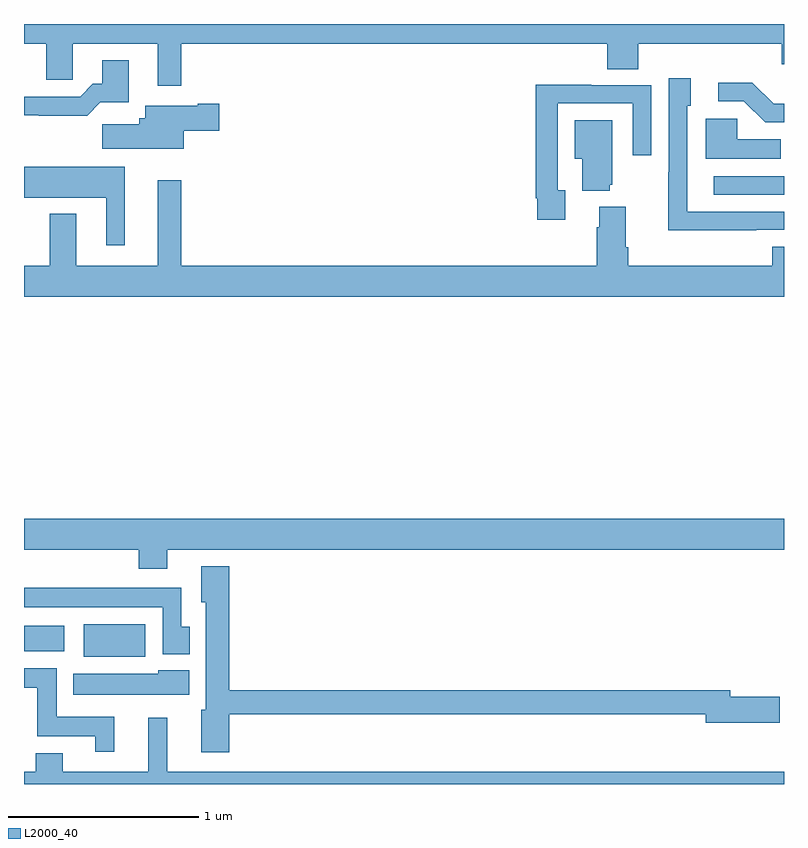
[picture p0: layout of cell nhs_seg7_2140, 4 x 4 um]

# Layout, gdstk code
import gdstk
lib = gdstk.Library(unit=1e-6, precision=1e-09)
def R(c, l, rs):  # rectangles x0, y0, x1, y1
    for r in rs: c.add(gdstk.rectangle(r[:2], r[2:], *l))
def P(c, l, *ps):  # polygons
    for p in ps: c.add(gdstk.Polygon(p, *l))
L2000_40 = (2000, 40)

nhs_seg7_2140 = lib.new_cell('nhs_seg7_2140')
R(nhs_seg7_2140, L2000_40, [(251.315,1050.671,251.638,1050.841), (251,1050.698,251.212,1050.832), (254.631,1053.102,255,1053.198)])
P(nhs_seg7_2140, L2000_40, [(251.827,1053.896),(254.069,1053.896),(254.069,1053.763),(254.234,1053.763),(254.234,1053.896),(254.987,1053.896),(254.987,1053.787),(255,1053.787),(255,1054),(251,1054),(251,1053.896),(251.117,1053.896),(251.117,1053.706),(251.256,1053.706),(251.256,1053.896),(251.705,1053.896),(251.705,1053.675),(251.827,1053.675)],
  [(251.402,1053.587),(251.551,1053.587),(251.551,1053.808),(251.411,1053.808),(251.411,1053.685),(251.362,1053.685),(251.295,1053.618),(251,1053.618),(251,1053.52),(251.077,1053.52),(251.077,1053.518),(251.333,1053.518)],
  [(254.855,1052.916),(255,1052.916),(255,1053.012),(254.491,1053.012),(254.491,1053.242),(254.49,1053.242),(254.49,1053.57),(254.509,1053.57),(254.509,1053.715),(254.394,1053.715),(254.394,1053.221),(254.392,1053.221),(254.392,1052.915),(254.855,1052.915)],
  [(255,1053.579),(254.946,1053.579),(254.833,1053.692),(254.655,1053.692),(254.655,1053.594),(254.789,1053.594),(254.9,1053.483),(255,1053.483)],
  [(253.849,1053.126),(253.809,1053.126),(253.809,1053.582),(254.205,1053.582),(254.205,1053.309),(254.301,1053.309),(254.301,1053.678),(253.985,1053.678),(253.985,1053.68),(253.693,1053.68),(253.693,1053.082),(253.701,1053.082),(253.701,1052.97),(253.849,1052.97)],
  [(251.842,1053.437),(252.028,1053.437),(252.028,1053.579),(251.915,1053.579),(251.915,1053.571),(251.639,1053.571),(251.639,1053.505),(251.606,1053.505),(251.606,1053.473),(251.412,1053.473),(251.412,1053.344),(251.842,1053.344)],
  [(254.984,1053.394),(254.754,1053.394),(254.754,1053.502),(254.588,1053.502),(254.588,1053.29),(254.984,1053.29)],
  [(254.084,1053.153),(254.095,1053.153),(254.095,1053.493),(253.898,1053.493),(253.898,1053.29),(253.937,1053.29),(253.937,1053.122),(254.084,1053.122)],
  [(251.53,1053.25),(251,1053.25),(251,1053.086),(251.432,1053.086),(251.432,1052.835),(251.53,1052.835)],
  [(255,1052.827),(254.939,1052.827),(254.939,1052.728),(254.18,1052.728),(254.18,1052.824),(254.167,1052.824),(254.167,1053.037),(254.027,1053.037),(254.027,1052.93),(254.015,1052.93),(254.015,1052.728),(251.827,1052.728),(251.827,1053.178),(251.705,1053.178),(251.705,1052.728),(251.275,1052.728),(251.275,1053.001),(251.135,1053.001),(251.135,1052.728),(251,1052.728),(251,1052.564),(255,1052.564)],
  [(251.755,1051.232),(255,1051.232),(255,1051.396),(251,1051.396),(251,1051.232),(251.603,1051.232),(251.603,1051.133),(251.755,1051.133)],
  [(252.08,1050.366),(254.588,1050.366),(254.588,1050.323),(254.977,1050.323),(254.977,1050.458),(254.716,1050.458),(254.716,1050.494),(252.08,1050.494),(252.08,1051.147),(251.933,1051.147),(251.933,1050.957),(251.957,1050.957),(251.957,1050.39),(251.933,1050.39),(251.933,1050.168),(252.08,1050.168)],
  [(251.872,1050.828),(251.827,1050.828),(251.827,1051.033),(251,1051.033),(251,1050.929),(251.73,1050.929),(251.73,1050.684),(251.872,1050.684)],
  [(251.474,1050.355),(251.173,1050.355),(251.173,1050.61),(251,1050.61),(251,1050.506),(251.069,1050.506),(251.069,1050.251),(251.375,1050.251),(251.375,1050.171),(251.474,1050.171)],
  [(251.869,1050.598),(251.706,1050.598),(251.706,1050.58),(251.258,1050.58),(251.258,1050.47),(251.869,1050.47)],
  [(255,1050.064),(251.753,1050.064),(251.753,1050.349),(251.654,1050.349),(251.654,1050.064),(251.203,1050.064),(251.203,1050.163),(251.063,1050.163),(251.063,1050.064),(251,1050.064),(251,1050),(255,1050)])

lib.write_gds('nhs_seg7_2140.gds')
